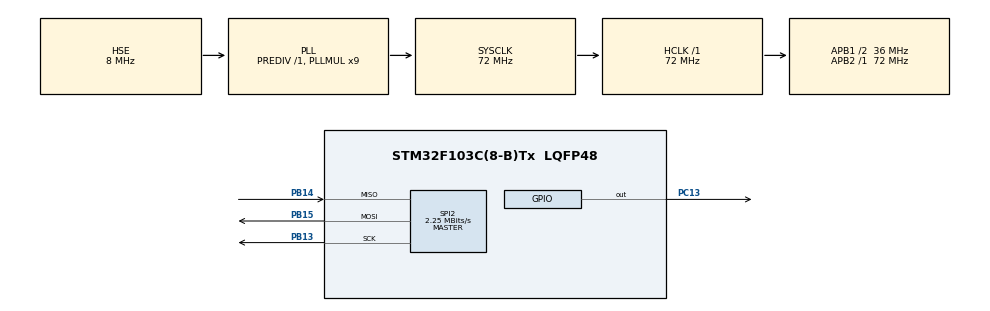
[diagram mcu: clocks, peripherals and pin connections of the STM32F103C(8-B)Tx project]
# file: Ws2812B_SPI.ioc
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Mcu.Family=STM32F1
Mcu.Name=STM32F103C(8-B)Tx
Mcu.Package=LQFP48
NVIC.PriorityGroup=NVIC_PRIORITYGROUP_4
PA13.Mode=Serial_Wire
PA13.Signal=SYS_JTMS-SWDIO
PA14.Mode=Serial_Wire
PA14.Signal=SYS_JTCK-SWCLK
PB13.Mode=Full_Duplex_Master
PB13.Signal=SPI2_SCK
PB14.Mode=Full_Duplex_Master
PB14.Signal=SPI2_MISO
PB15.Mode=Full_Duplex_Master
PB15.Signal=SPI2_MOSI
PC13-TAMPER-RTC.Signal=GPIO_Output
PD0-OSC_IN.Mode=HSE-External-Oscillator
PD0-OSC_IN.Signal=RCC_OSC_IN
PD1-OSC_OUT.Mode=HSE-External-Oscillator
PD1-OSC_OUT.Signal=RCC_OSC_OUT
ProjectManager.HeapSize=0x200
ProjectManager.StackSize=0x400
ProjectManager.TargetToolchain=SW4STM32
RCC.AHBFreq_Value=72000000
RCC.APB1CLKDivider=RCC_HCLK_DIV2
RCC.APB1Freq_Value=36000000
RCC.APB1TimCLKDivider=1
RCC.APB1TimFreq_Value=36000000
RCC.APB2Freq_Value=72000000
RCC.APB2TimFreq_Value=72000000
RCC.HCLKFreq_Value=72000000
RCC.HSIState=RCC_HSI_ON
RCC.PLLMUL=RCC_PLL_MUL9
RCC.PLLSourceVirtual=RCC_PLLSOURCE_HSE
RCC.SYSCLKFreq_VALUE=72000000
RCC.SYSCLKSource=RCC_SYSCLKSOURCE_PLLCLK
RCC.USBFreq_Value=72000000
SPI2.BaudRatePrescaler=SPI_BAUDRATEPRESCALER_16
SPI2.CalculateBaudRate=2.25 MBits/s
SPI2.DataSize=SPI_DATASIZE_16BIT
SPI2.Mode=SPI_MODE_MASTER
board=Ws2812B_SPI

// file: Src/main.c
/**
  ******************************************************************************
  * File Name          : main.c
  * Description        : Main program body
  ******************************************************************************
  *
  * COPYRIGHT(c) 2016 STMicroelectronics
  *
  * Redistribution and use in source and binary forms, with or without modification,
  * are permitted provided that the following conditions are met:
  *   1. Redistributions of source code must retain the above copyright notice,
  *      this list of conditions and the following disclaimer.
  *   2. Redistributions in binary form must reproduce the above copyright notice,
  *      this list of conditions and the following disclaimer in the documentation
  *      and/or other materials provided with the distribution.
  *   3. Neither the name of STMicroelectronics nor the names of its contributors
  *      may be used to endorse or promote products derived from this software
  *      without specific prior written permission.
  *
  * THIS SOFTWARE IS PROVIDED BY THE COPYRIGHT HOLDERS AND CONTRIBUTORS "AS IS"
  * AND ANY EXPRESS OR IMPLIED WARRANTIES, INCLUDING, BUT NOT LIMITED TO, THE
  * IMPLIED WARRANTIES OF MERCHANTABILITY AND FITNESS FOR A PARTICULAR PURPOSE ARE
  * DISCLAIMED. IN NO EVENT SHALL THE COPYRIGHT HOLDER OR CONTRIBUTORS BE LIABLE
  * FOR ANY DIRECT, INDIRECT, INCIDENTAL, SPECIAL, EXEMPLARY, OR CONSEQUENTIAL
  * DAMAGES (INCLUDING, BUT NOT LIMITED TO, PROCUREMENT OF SUBSTITUTE GOODS OR
  * SERVICES; LOSS OF USE, DATA, OR PROFITS; OR BUSINESS INTERRUPTION) HOWEVER
  * CAUSED AND ON ANY THEORY OF LIABILITY, WHETHER IN CONTRACT, STRICT LIABILITY,
  * OR TORT (INCLUDING NEGLIGENCE OR OTHERWISE) ARISING IN ANY WAY OUT OF THE USE
  * OF THIS SOFTWARE, EVEN IF ADVISED OF THE POSSIBILITY OF SUCH DAMAGE.
  *
  ******************************************************************************
  */
#include "main.h"
#include "stm32f1xx_hal.h"

SPI_HandleTypeDef hspi2;

/* USER CODE BEGIN PV */
/* Private variables ---------------------------------------------------------*/

/* USER CODE END PV */

void SystemClock_Config(void);
void Error_Handler(void);
static void MX_GPIO_Init(void);
static void MX_SPI2_Init(void);

/* USER CODE BEGIN PFP */
/* Private function prototypes -----------------------------------------------*/

/* USER CODE END PFP */

int main(void)
{

  /* USER CODE BEGIN 1 */
	//
	// 3 bajty okreœlaj¹ce kolor 1 diody LED WS2812B
	//
	struct RGB_LED
	{
		unsigned char Red;
		unsigned char Green;
		unsigned char Blue;
		unsigned char none;
	}typdef;

	unsigned char led[][4] = {  {0x08, 0x00, 0x00, 0x00},
								{0x18, 0x00, 0x00, 0x00},
								{0x28, 0x00, 0x00, 0x00},
								{0x38, 0x00, 0x00, 0x00},
								{0x48, 0x00, 0x00, 0x00},
								{0x58, 0x00, 0x00, 0x00},
								{0x68, 0x00, 0x00, 0x00},
								{0x78, 0x00, 0x00, 0x00},
								{0x88, 0x00, 0x00, 0x00},
								{0x98, 0x00, 0x00, 0x00},
								{0xA8, 0x00, 0x00, 0x00},
								{0xB8, 0x00, 0x00, 0x00},
								{0xC8, 0x00, 0x00, 0x00},
								{0xD8, 0x00, 0x00, 0x00},
								{0xE8, 0x00, 0x00, 0x00},
								{0xF8, 0x00, 0x00, 0x00}	};

	//
	// 3 bajty okreœlaj¹ce kolor 1 diody LED WS2812B
	//
	// 1x01x01x01x01x01x01x01x01x01x01x 01x01x01x01x01x01x01x01x01x01x01 x01x01x0
	//
	uint16_t bufor[16*5+7] = {	0xDB6C, 0xDB6C, 0xDB6C, 0xDB6C, 0xDB00,
								0xDB6C, 0xDB6C, 0xDB6C, 0xDB6C, 0xDB00,
								0xDB6C, 0xDB6C, 0xDB6C, 0xDB6C, 0xDB00,
								0xDB6C, 0xDB6C, 0xDB6C, 0xDB6C, 0xDB00,
								0xDB6C, 0xDB6C, 0xDB6C, 0xDB6C, 0xDB00,
								0xDB6C, 0xDB6C, 0xDB6C, 0xDB6C, 0xDB00,
								0xDB6C, 0xDB6C, 0xDB6C, 0xDB6C, 0xDB00,
								0xDB6C, 0xDB6C, 0xDB6C, 0xDB6C, 0xDB00,
								0xDB6C, 0xDB6C, 0xDB6C, 0xDB6C, 0xDB00,
								0xDB6C, 0xDB6C, 0xDB6C, 0xDB6C, 0xDB00,
								0xDB6C, 0xDB6C, 0xDB6C, 0xDB6C, 0xDB00,
								0xDB6C, 0xDB6C, 0xDB6C, 0xDB6C, 0xDB00,
								0xDB6C, 0xDB6C, 0xDB6C, 0xDB6C, 0xDB00,
								0xDB6C, 0xDB6C, 0xDB6C, 0xDB6C, 0xDB00,
								0xDB6C, 0xDB6C, 0xDB6C, 0xDB6C, 0xDB00,
								0xDB6C, 0xDB6C, 0xDB6C, 0xDB6C, 0xDB00,
								0x0000, 0x0000, 0x0000, 0x0000, 0x0000,	0x0000, 0x0000};	// Ostatnia linia oznacza sygna³ RESET dla diod WS2812
	uint32_t *color = (uint32_t)&led;
	volatile uint32_t kolor;
  /* USER CODE END 1 */

  /* MCU Configuration----------------------------------------------------------*/

  /* Reset of all peripherals, Initializes the Flash interface and the Systick. */
  HAL_Init();

  /* Configure the system clock */
  SystemClock_Config();

  /* Initialize all configured peripherals */
  MX_GPIO_Init();
  MX_SPI2_Init();

  /* Infinite loop */
  /* USER CODE BEGIN WHILE */
  while (1)
  {
	  HAL_SPI_Transmit(&hspi2, bufor, 16*5+7, 100);
	  HAL_GPIO_TogglePin(GPIOC, GPIO_PIN_13);
	  HAL_Delay(200);
	  kolor = *(color++);

	  /* USER CODE END WHILE */

  }

}

/** System Clock Configuration
*/
void SystemClock_Config(void)
{

  RCC_OscInitTypeDef RCC_OscInitStruct;
  RCC_ClkInitTypeDef RCC_ClkInitStruct;

    /**Initializes the CPU, AHB and APB busses clocks
    */
  RCC_OscInitStruct.OscillatorType = RCC_OSCILLATORTYPE_HSE;
  RCC_OscInitStruct.HSEState = RCC_HSE_ON;
  RCC_OscInitStruct.HSEPredivValue = RCC_HSE_PREDIV_DIV1;
  RCC_OscInitStruct.HSIState = RCC_HSI_ON;
  RCC_OscInitStruct.PLL.PLLState = RCC_PLL_ON;
  RCC_OscInitStruct.PLL.PLLSource = RCC_PLLSOURCE_HSE;
  RCC_OscInitStruct.PLL.PLLMUL = RCC_PLL_MUL9;
  if (HAL_RCC_OscConfig(&RCC_OscInitStruct) != HAL_OK)
  {
    Error_Handler();
  }

    /**Initializes the CPU, AHB and APB busses clocks
    */
  RCC_ClkInitStruct.ClockType = RCC_CLOCKTYPE_HCLK|RCC_CLOCKTYPE_SYSCLK
                              |RCC_CLOCKTYPE_PCLK1|RCC_CLOCKTYPE_PCLK2;
  RCC_ClkInitStruct.SYSCLKSource = RCC_SYSCLKSOURCE_PLLCLK;
  RCC_ClkInitStruct.AHBCLKDivider = RCC_SYSCLK_DIV1;
  RCC_ClkInitStruct.APB1CLKDivider = RCC_HCLK_DIV2;
  RCC_ClkInitStruct.APB2CLKDivider = RCC_HCLK_DIV1;

  if (HAL_RCC_ClockConfig(&RCC_ClkInitStruct, FLASH_LATENCY_2) != HAL_OK)
  {
    Error_Handler();
  }

    /**Configure the Systick interrupt time
    */
  HAL_SYSTICK_Config(HAL_RCC_GetHCLKFreq()/1000);

    /**Configure the Systick
    */
  HAL_SYSTICK_CLKSourceConfig(SYSTICK_CLKSOURCE_HCLK);

  /* SysTick_IRQn interrupt configuration */
  HAL_NVIC_SetPriority(SysTick_IRQn, 0, 0);
}

/* SPI2 init function */
static void MX_SPI2_Init(void)
{

  hspi2.Instance = SPI2;
  hspi2.Init.Mode = SPI_MODE_MASTER;
  hspi2.Init.Direction = SPI_DIRECTION_2LINES;
  hspi2.Init.DataSize = SPI_DATASIZE_16BIT;
  hspi2.Init.CLKPolarity = SPI_POLARITY_LOW;
  hspi2.Init.CLKPhase = SPI_PHASE_1EDGE;
  hspi2.Init.NSS = SPI_NSS_SOFT;
  hspi2.Init.BaudRatePrescaler = SPI_BAUDRATEPRESCALER_16;
  hspi2.Init.FirstBit = SPI_FIRSTBIT_MSB;
  hspi2.Init.TIMode = SPI_TIMODE_DISABLE;
  hspi2.Init.CRCCalculation = SPI_CRCCALCULATION_DISABLE;
  hspi2.Init.CRCPolynomial = 10;
  if (HAL_SPI_Init(&hspi2) != HAL_OK)
  {
    Error_Handler();
  }

}

/** Configure pins as
        * Analog
        * Input
        * Output
        * EVENT_OUT
        * EXTI
*/
static void MX_GPIO_Init(void)
{

  GPIO_InitTypeDef GPIO_InitStruct;

  /* GPIO Ports Clock Enable */
  __HAL_RCC_GPIOC_CLK_ENABLE();
  __HAL_RCC_GPIOD_CLK_ENABLE();
  __HAL_RCC_GPIOB_CLK_ENABLE();
  __HAL_RCC_GPIOA_CLK_ENABLE();

  /*Configure GPIO pin Output Level */
  HAL_GPIO_WritePin(GPIOC, GPIO_PIN_13, GPIO_PIN_RESET);

  /*Configure GPIO pin : PC13 */
  GPIO_InitStruct.Pin = GPIO_PIN_13;
  GPIO_InitStruct.Mode = GPIO_MODE_OUTPUT_PP;
  GPIO_InitStruct.Speed = GPIO_SPEED_FREQ_LOW;
  HAL_GPIO_Init(GPIOC, &GPIO_InitStruct);

}

void Error_Handler(void)
{
  while(1)
  {
  }
}

/************************ (C) COPYRIGHT STMicroelectronics *****END OF FILE****/
